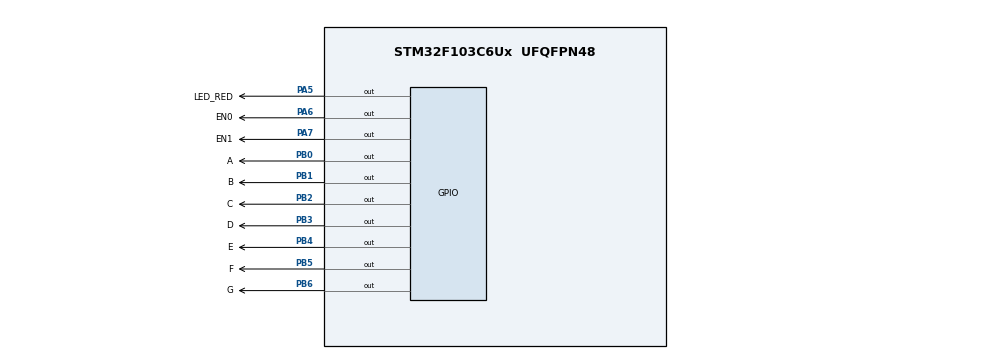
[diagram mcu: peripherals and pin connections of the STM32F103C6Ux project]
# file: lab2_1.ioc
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Mcu.Family=STM32F1
Mcu.Name=STM32F103C6Ux
Mcu.Package=UFQFPN48
NVIC.PriorityGroup=NVIC_PRIORITYGROUP_4
NVIC.TIM2_IRQn=true\:0\:0\:false\:false\:true\:true\:true
PA5.GPIO_Label=LED_RED
PA5.Signal=GPIO_Output
PA6.GPIO_Label=EN0
PA6.Signal=GPIO_Output
PA7.GPIO_Label=EN1
PA7.Signal=GPIO_Output
PB0.GPIO_Label=A
PB0.Signal=GPIO_Output
PB1.GPIO_Label=B
PB1.Signal=GPIO_Output
PB2.GPIO_Label=C
PB2.Signal=GPIO_Output
PB3.GPIO_Label=D
PB3.Signal=GPIO_Output
PB4.GPIO_Label=E
PB4.Signal=GPIO_Output
PB5.GPIO_Label=F
PB5.Signal=GPIO_Output
PB6.GPIO_Label=G
PB6.Signal=GPIO_Output
ProjectManager.HeapSize=0x200
ProjectManager.StackSize=0x400
ProjectManager.TargetToolchain=STM32CubeIDE
RCC.APB1Freq_Value=8000000
RCC.APB2Freq_Value=8000000
TIM2.Period=9
TIM2.Prescaler=7999
VP_SYS_VS_ND.Mode=No_Debug
VP_TIM2_VS_ClockSourceINT.Mode=Internal
board=custom

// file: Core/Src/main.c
/* USER CODE BEGIN Header */
/**
  ******************************************************************************
  * @file           : main.c
  * @brief          : Main program body
  ******************************************************************************
  * @attention
  *
  * <h2><center>&copy; Copyright (c) 2022 STMicroelectronics.
  * All rights reserved.</center></h2>
  *
  * This software component is licensed by ST under BSD 3-Clause license,
  * the "License"; You may not use this file except in compliance with the
  * License. You may obtain a copy of the License at:
  *                        opensource.org/licenses/BSD-3-Clause
  *
  ******************************************************************************
  */
/* USER CODE END Header */
#include "main.h"

/* USER CODE BEGIN Includes */
#include "software.h"
#include "display.h"
/* USER CODE END Includes */

TIM_HandleTypeDef htim2;

void SystemClock_Config(void);
static void MX_TIM2_Init(void);
static void MX_GPIO_Init(void);

int main(void)
{

  /* MCU Configuration--------------------------------------------------------*/

  /* Reset of all peripherals, Initializes the Flash interface and the Systick. */
  HAL_Init();

  /* Configure the system clock */
  SystemClock_Config();

  /* Initialize all configured peripherals */
  MX_TIM2_Init();
  MX_GPIO_Init();
  /* USER CODE BEGIN 2 */
  HAL_TIM_Base_Start_IT (& htim2 ) ;
  /* USER CODE END 2 */

  /* Infinite loop */
  /* USER CODE BEGIN WHILE */
  display7SEG(1);
  HAL_GPIO_WritePin(EN0_GPIO_Port, EN0_Pin, RESET);
  HAL_GPIO_WritePin(EN1_GPIO_Port, EN1_Pin, SET);
  setTimer1(50);
  while (1)
  {
	  if(timer1_flag == 1){
		  setTimer1(50);
		  //TODO
		  HAL_GPIO_TogglePin(EN0_GPIO_Port, EN0_Pin);
		  HAL_GPIO_TogglePin(EN1_GPIO_Port, EN1_Pin);
		  if(HAL_GPIO_ReadPin(EN1_GPIO_Port, EN1_Pin)== 0){
			  display7SEG(2);
		  }else{
			  display7SEG(1);
		  }
	  }
    /* USER CODE END WHILE */

  }
}

void SystemClock_Config(void)
{
  RCC_OscInitTypeDef RCC_OscInitStruct = {0};
  RCC_ClkInitTypeDef RCC_ClkInitStruct = {0};

  /** Initializes the RCC Oscillators according to the specified parameters
  * in the RCC_OscInitTypeDef structure.
  */
  RCC_OscInitStruct.OscillatorType = RCC_OSCILLATORTYPE_HSI;
  RCC_OscInitStruct.HSIState = RCC_HSI_ON;
  RCC_OscInitStruct.HSICalibrationValue = RCC_HSICALIBRATION_DEFAULT;
  RCC_OscInitStruct.PLL.PLLState = RCC_PLL_NONE;
  if (HAL_RCC_OscConfig(&RCC_OscInitStruct) != HAL_OK)
  {
    Error_Handler();
  }
  /** Initializes the CPU, AHB and APB buses clocks
  */
  RCC_ClkInitStruct.ClockType = RCC_CLOCKTYPE_HCLK|RCC_CLOCKTYPE_SYSCLK
                              |RCC_CLOCKTYPE_PCLK1|RCC_CLOCKTYPE_PCLK2;
  RCC_ClkInitStruct.SYSCLKSource = RCC_SYSCLKSOURCE_HSI;
  RCC_ClkInitStruct.AHBCLKDivider = RCC_SYSCLK_DIV1;
  RCC_ClkInitStruct.APB1CLKDivider = RCC_HCLK_DIV1;
  RCC_ClkInitStruct.APB2CLKDivider = RCC_HCLK_DIV1;

  if (HAL_RCC_ClockConfig(&RCC_ClkInitStruct, FLASH_LATENCY_0) != HAL_OK)
  {
    Error_Handler();
  }
}

static void MX_TIM2_Init(void)
{

  TIM_ClockConfigTypeDef sClockSourceConfig = {0};
  TIM_MasterConfigTypeDef sMasterConfig = {0};

  htim2.Instance = TIM2;
  htim2.Init.Prescaler = 7999;
  htim2.Init.CounterMode = TIM_COUNTERMODE_UP;
  htim2.Init.Period = 9;
  htim2.Init.ClockDivision = TIM_CLOCKDIVISION_DIV1;
  htim2.Init.AutoReloadPreload = TIM_AUTORELOAD_PRELOAD_DISABLE;
  if (HAL_TIM_Base_Init(&htim2) != HAL_OK)
  {
    Error_Handler();
  }
  sClockSourceConfig.ClockSource = TIM_CLOCKSOURCE_INTERNAL;
  if (HAL_TIM_ConfigClockSource(&htim2, &sClockSourceConfig) != HAL_OK)
  {
    Error_Handler();
  }
  sMasterConfig.MasterOutputTrigger = TIM_TRGO_RESET;
  sMasterConfig.MasterSlaveMode = TIM_MASTERSLAVEMODE_DISABLE;
  if (HAL_TIMEx_MasterConfigSynchronization(&htim2, &sMasterConfig) != HAL_OK)
  {
    Error_Handler();
  }

}

static void MX_GPIO_Init(void)
{
  GPIO_InitTypeDef GPIO_InitStruct = {0};

  /* GPIO Ports Clock Enable */
  __HAL_RCC_GPIOA_CLK_ENABLE();
  __HAL_RCC_GPIOB_CLK_ENABLE();

  /*Configure GPIO pin Output Level */
  HAL_GPIO_WritePin(GPIOA, LED_RED_Pin|EN0_Pin|EN1_Pin, GPIO_PIN_RESET);

  /*Configure GPIO pin Output Level */
  HAL_GPIO_WritePin(GPIOB, A_Pin|B_Pin|C_Pin|D_Pin
                          |E_Pin|F_Pin|G_Pin, GPIO_PIN_RESET);

  /*Configure GPIO pins : LED_RED_Pin EN0_Pin EN1_Pin */
  GPIO_InitStruct.Pin = LED_RED_Pin|EN0_Pin|EN1_Pin;
  GPIO_InitStruct.Mode = GPIO_MODE_OUTPUT_PP;
  GPIO_InitStruct.Pull = GPIO_NOPULL;
  GPIO_InitStruct.Speed = GPIO_SPEED_FREQ_LOW;
  HAL_GPIO_Init(GPIOA, &GPIO_InitStruct);

  /*Configure GPIO pins : A_Pin B_Pin C_Pin D_Pin
                           E_Pin F_Pin G_Pin */
  GPIO_InitStruct.Pin = A_Pin|B_Pin|C_Pin|D_Pin
                          |E_Pin|F_Pin|G_Pin;
  GPIO_InitStruct.Mode = GPIO_MODE_OUTPUT_PP;
  GPIO_InitStruct.Pull = GPIO_NOPULL;
  GPIO_InitStruct.Speed = GPIO_SPEED_FREQ_LOW;
  HAL_GPIO_Init(GPIOB, &GPIO_InitStruct);

}

/* USER CODE BEGIN 4 */
void HAL_TIM_PeriodElapsedCallback ( TIM_HandleTypeDef * htim )
{
	timerRun();
}
/* USER CODE END 4 */

void Error_Handler(void)
{
  __disable_irq();
  while (1)
  {
  }
}

/************************ (C) COPYRIGHT STMicroelectronics *****END OF FILE****/
